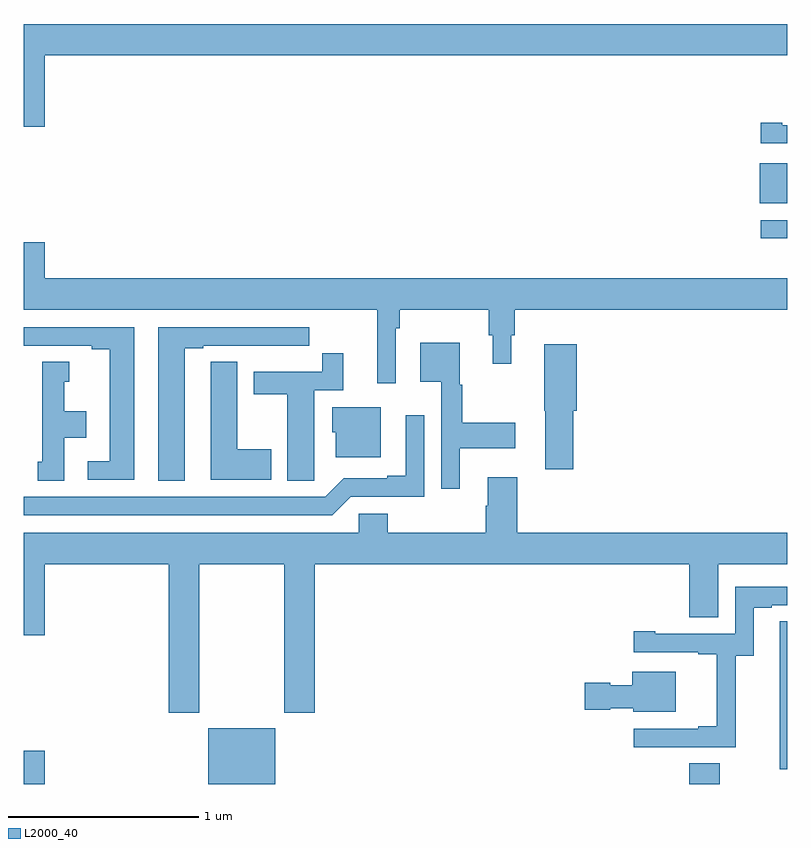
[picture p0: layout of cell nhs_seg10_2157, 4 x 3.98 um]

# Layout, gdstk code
import gdstk
lib = gdstk.Library(unit=1e-6, precision=1e-09)
def R(c, l, rs):  # rectangles x0, y0, x1, y1
    for r in rs: c.add(gdstk.rectangle(r[:2], r[2:], *l))
def P(c, l, *ps):  # polygons
    for p in ps: c.add(gdstk.Polygon(p, *l))
L2000_40 = (2000, 40)

nhs_seg10_2157 = lib.new_cell('nhs_seg10_2157')
R(nhs_seg10_2157, L2000_40, [(225,1296.5,225.112,1296.673), (225.968,1296.5,226.318,1296.793), (228.485,1296.5,228.645,1296.608), (228.861,1299.357,229,1299.453), (228.854,1299.542,229,1299.751)])
P(nhs_seg10_2157, L2000_40, [(225.112,1300.316),(229,1300.316),(229,1300.48),(225,1300.48),(225,1299.942),(225.112,1299.942)],
  [(229,1299.951),(228.973,1299.951),(228.973,1299.964),(228.861,1299.964),(228.861,1299.855),(229,1299.855)],
  [(226.95,1298.888),(226.97,1298.888),(226.97,1298.984),(227.437,1298.984),(227.437,1298.85),(227.456,1298.85),(227.456,1298.7),(227.554,1298.7),(227.554,1298.85),(227.573,1298.85),(227.573,1298.984),(229,1298.984),(229,1299.148),(225.112,1299.148),(225.112,1299.337),(225,1299.337),(225,1298.984),(226.853,1298.984),(226.853,1298.598),(226.95,1298.598)],
  [(225.844,1298.781),(225.94,1298.781),(225.94,1298.796),(226.216,1298.796),(226.216,1298.795),(226.382,1298.795),(226.382,1298.796),(226.495,1298.796),(226.495,1298.892),(225.704,1298.892),(225.704,1298.089),(225.844,1298.089)],
  [(225.58,1298.892),(225,1298.892),(225,1298.796),(225.356,1298.796),(225.356,1298.776),(225.452,1298.776),(225.452,1298.19),(225.336,1298.19),(225.336,1298.094),(225.58,1298.094)],
  [(227.284,1298.258),(227.575,1298.258),(227.575,1298.393),(227.296,1298.393),(227.296,1298.592),(227.284,1298.592),(227.284,1298.812),(227.078,1298.812),(227.078,1298.606),(227.187,1298.606),(227.187,1298.046),(227.284,1298.046)],
  [(227.879,1298.454),(227.897,1298.454),(227.897,1298.803),(227.726,1298.803),(227.726,1298.454),(227.732,1298.454),(227.732,1298.148),(227.879,1298.148)],
  [(226.521,1298.2),(226.522,1298.2),(226.522,1298.562),(226.673,1298.562),(226.673,1298.755),(226.564,1298.755),(226.564,1298.658),(226.205,1298.658),(226.205,1298.542),(226.382,1298.542),(226.382,1298.089),(226.521,1298.089)],
  [(226.297,1298.253),(226.12,1298.253),(226.12,1298.711),(225.981,1298.711),(225.981,1298.603),(225.98,1298.603),(225.98,1298.093),(226.297,1298.093)],
  [(225.214,1298.312),(225.328,1298.312),(225.328,1298.452),(225.214,1298.452),(225.214,1298.607),(225.238,1298.607),(225.238,1298.71),(225.098,1298.71),(225.098,1298.187),(225.074,1298.187),(225.074,1298.089),(225.214,1298.089)],
  [(226.87,1298.473),(226.616,1298.473),(226.616,1298.343),(226.634,1298.343),(226.634,1298.21),(226.87,1298.21)],
  [(226.713,1298.004),(227.097,1298.004),(227.097,1298.431),(227,1298.431),(227,1298.113),(226.904,1298.113),(226.904,1298.1),(226.677,1298.1),(226.581,1298.004),(225,1298.004),(225,1297.908),(226.617,1297.908)],
  [(225.921,1297.652),(226.366,1297.652),(226.366,1296.873),(226.526,1296.873),(226.526,1297.652),(228.485,1297.652),(228.485,1297.372),(228.637,1297.372),(228.637,1297.652),(229,1297.652),(229,1297.816),(227.585,1297.816),(227.585,1298.107),(227.432,1298.107),(227.432,1297.958),(227.42,1297.958),(227.42,1297.816),(226.907,1297.816),(226.907,1297.914),(226.755,1297.914),(226.755,1297.816),(225,1297.816),(225,1297.278),(225.112,1297.278),(225.112,1297.652),(225.761,1297.652),(225.761,1296.873),(225.921,1296.873)],
  [(228.729,1297.171),(228.823,1297.171),(228.823,1297.422),(228.919,1297.422),(228.919,1297.437),(229,1297.437),(229,1297.533),(228.726,1297.533),(228.726,1297.287),(228.307,1297.287),(228.307,1297.3),(228.195,1297.3),(228.195,1297.191),(228.533,1297.191),(228.533,1297.179),(228.629,1297.179),(228.629,1296.802),(228.533,1296.802),(228.533,1296.789),(228.195,1296.789),(228.195,1296.693),(228.729,1296.693)],
  [(229,1297.352),(228.96,1297.352),(228.96,1297.244),(228.959,1297.244),(228.959,1296.576),(229,1296.576)],
  [(228.415,1297.087),(228.188,1297.087),(228.188,1297.018),(228.072,1297.018),(228.072,1297.031),(227.94,1297.031),(227.94,1296.889),(228.072,1296.889),(228.072,1296.896),(228.192,1296.896),(228.192,1296.878),(228.415,1296.878)])

lib.write_gds('nhs_seg10_2157.gds')
